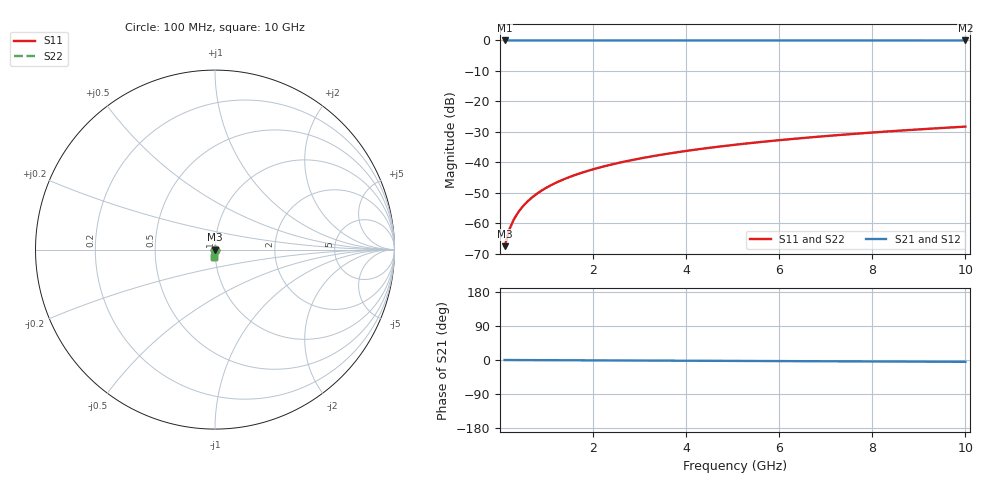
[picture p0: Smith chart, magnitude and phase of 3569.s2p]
# Hz S RI R 50.00
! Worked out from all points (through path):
!   100 points, 100 MHz to 10 GHz, reference 50 ohm
!   highest |S21| = 0.00 dB at 100 MHz (marker M1); lowest = 0.0 dB at 10 GHz (marker M2)
!   lowest |S11| = -67.5 dB at 100 MHz (marker M3), VSWR 1.00, Z = 50 - j0.0384 ohm
!   |S11| at or under -10 dB: start of sweep to end of sweep
!   |S22| runs from -67.5 to -28.3 dB; largest |S21 - S12| = 0
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1e8  0.000173 -0.000384  0.9998 -0.000839  0.9998 -0.000839  0.000173 -0.000384
2e8  0.000173 -0.000768  0.9998 -0.00168  0.9998 -0.00168  0.000173 -0.000768
3e8  0.000172 -0.00115  0.9998 -0.00252  0.9998 -0.00252  0.000172 -0.00115
4e8  0.000169 -0.00154  0.9998 -0.00336  0.9998 -0.00336  0.000169 -0.00154
5e8  0.000167 -0.00192  0.9998 -0.00419  0.9998 -0.00419  0.000167 -0.00192
6e8  0.000163 -0.0023  0.9998 -0.00503  0.9998 -0.00503  0.000163 -0.0023
7e8  0.000159 -0.00269  0.9998 -0.00587  0.9998 -0.00587  0.000159 -0.00269
8e8  0.000154 -0.00307  0.9998 -0.00671  0.9998 -0.00671  0.000154 -0.00307
9e8  0.000148 -0.00346  0.9998 -0.00755  0.9998 -0.00755  0.000148 -0.00346
1.1e9  0.000135 -0.00422  0.9998 -0.00923  0.9998 -0.00923  0.000135 -0.00422
1.4e9  0.00011 -0.00538  0.9997 -0.0117  0.9997 -0.0117  0.00011 -0.00538
1.8e9  6.76e-05 -0.00691  0.9997 -0.0151  0.9997 -0.0151  6.76e-05 -0.00691
2.1e9  2.89e-05 -0.00807  0.9996 -0.0176  0.9996 -0.0176  2.89e-05 -0.00807
2.5e9  -3.17e-05 -0.00961  0.9995 -0.021  0.9995 -0.021  -3.17e-05 -0.00961
2.9e9  -0.000103 -0.0111  0.9994 -0.0243  0.9994 -0.0243  -0.000103 -0.0111
3.4e9  -0.000206 -0.0131  0.9993 -0.0285  0.9993 -0.0285  -0.000206 -0.0131
4.2e9  -0.000406 -0.0161  0.999 -0.0353  0.999 -0.0353  -0.000406 -0.0161
5.1e9  -0.00068 -0.0196  0.9987 -0.0428  0.9987 -0.0428  -0.00068 -0.0196
5.9e9  -0.000968 -0.0227  0.9983 -0.0496  0.9983 -0.0496  -0.000968 -0.0227
6.7e9  -0.0013 -0.0258  0.9978 -0.0563  0.9978 -0.0563  -0.0013 -0.0258
8.4e9  -0.00214 -0.0323  0.9967 -0.0706  0.9967 -0.0706  -0.00214 -0.0323
1e10  -0.0031 -0.0384  0.9954 -0.0841  0.9954 -0.0841  -0.0031 -0.0384
